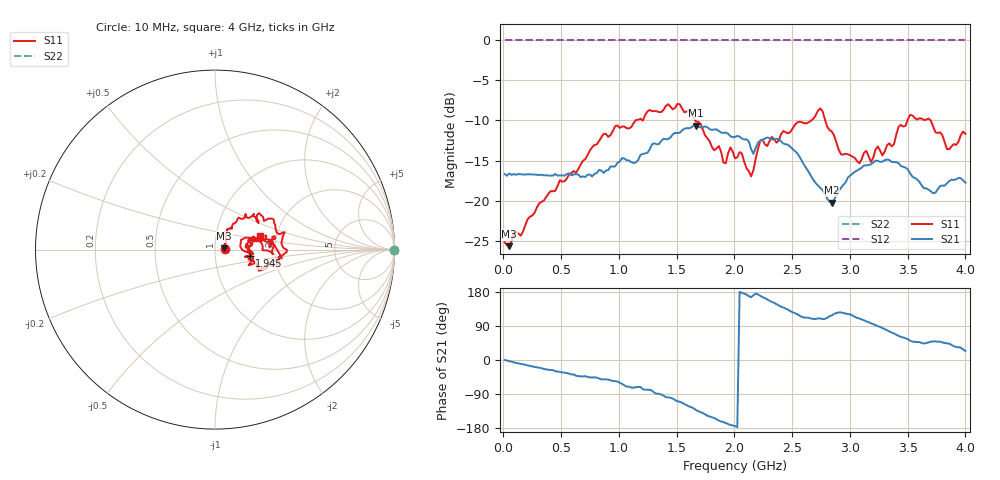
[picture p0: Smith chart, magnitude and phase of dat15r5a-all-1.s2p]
! Anritsu VNA Master:  Model: MS2024B
! SN:  2417009
! /card0/usr/dat15r5a-all-1.s2p
! Existing Calibration Information:
! TYPE:  Current Settings,  Active Cal Settings
! TIME:  11/03/2026 03:12:40 PM,  11/03/2026 01:15:51 PM
! INTERNAL TEMP:  49.5 C,  37.0 C
! # POINTS:  201,  201
! START FREQ:  10.000 MHz,  10.000 MHz
! STOP FREQ:  4.000 GHz,  4.000 GHz
! SOURCE POWER:  Default,  Default
! IFBW:  1 kHz,  1 kHz
! AVG FACTOR:  1 ,  1
! REF PLANE 1:  0 mm,  0 mm
! REF PLANE 2:  0 mm,  0 mm
! CAL TYPE:  1P2P S11,S21,  1P2P S11,S21
! CAL METHOD:  SOLT,  SOLT
! CAL LINE TYPE:  Coax,  Coax
! DUT PORT 1:  N-Conn(M),  N-Conn(M)
! DUT PORT 2:  N-Conn(M),  N-Conn(M)
! CAL STATUS:  X: Accuracy low (|Temp diff| > 10.0 C),  --
# GHZ S DB R 50.0
! FREQ.GHZ  S11DB  S11A  S21DB  S21A  S12DB  S12A  S22DB  S22A
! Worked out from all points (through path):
!   201 points, 10 MHz to 4 GHz, reference 50 ohm
!   highest |S21| = -10.64 dB at 1.666 GHz (marker M1); lowest = -20.3 dB at 2.843 GHz (marker M2)
!   group delay of S21, straight-line fit = 249 ps
!   lowest |S11| = -25.7 dB at 49.9 MHz (marker M3), VSWR 1.11, Z = 55.4 + j0.702 ohm
!   |S11| at or under -10 dB: start of sweep to 1.144 GHz; 1.661 GHz to 2.665 GHz (1.005 GHz wide, 46.4 % of centre); 2.787 GHz to 3.498 GHz (711.5 MHz wide, 22.6 % of centre)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
!   |S22| runs from 0.0 to 0.0 dB; largest |S21 - S12| = 1.3
!   S11 on the Smith chart (normalised r, x): 10 MHz: 1.12, +0.01; 1.945 GHz: 1.48, -0.11; 4 GHz: 1.64, +0.26
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0.01  -25.20 5.9  -16.68 -0.2  0.00 0.0  0.00 0.0
0.0499  -25.70 7.0  -16.62 -3.1  0.00 0.0  0.00 0.0
0.6883  -15.04 54.8  -16.98 -43.4  0.00 0.0  0.00 0.0
0.9676  -10.70 42.6  -15.72 -55.8  0.00 0.0  0.00 0.0
1.34665  -8.95 19.0  -12.94 -89.1  0.00 0.0  0.00 0.0
1.5262  -7.96 -1.9  -11.55 -110.2  0.00 0.0  0.00 0.0
1.66585  -10.12 -15.9  -10.64 -131.8  0.00 0.0  0.00 0.0
1.90525  -15.26 -12.8  -11.55 -163.9  0.00 0.0  0.00 0.0
1.94515  -14.08 -10.6  -11.65 -169.0  0.00 0.0  0.00 0.0
2.005  -14.73 -0.8  -12.05 -174.3  0.00 0.0  0.00 0.0
2.14465  -16.98 7.1  -13.57 166.0  0.00 0.0  0.00 0.0
2.22445  -12.49 15.6  -12.52 169.2  0.00 0.0  0.00 0.0
2.46385  -11.61 18.6  -13.03 132.7  0.00 0.0  0.00 0.0
2.6833  -9.80 6.8  -17.43 108.4  0.00 0.0  0.00 0.0
2.74315  -8.49 -7.7  -18.41 109.6  0.00 0.0  0.00 0.0
2.8429  -11.37 -25.6  -20.26 117.6  0.00 0.0  0.00 0.0
3.0823  -15.35 4.5  -16.06 109.5  0.00 0.0  0.00 0.0
3.34165  -12.86 18.6  -14.94 75.4  0.00 0.0  0.00 0.0
3.5212  -9.31 10.5  -16.59 51.1  0.00 0.0  0.00 0.0
3.6808  -9.76 -4.5  -18.64 46.5  0.00 0.0  0.00 0.0
3.8404  -13.58 17.0  -17.84 44.0  0.00 0.0  0.00 0.0
4  -11.67 16.4  -17.77 23.8  0.00 0.0  0.00 0.0
